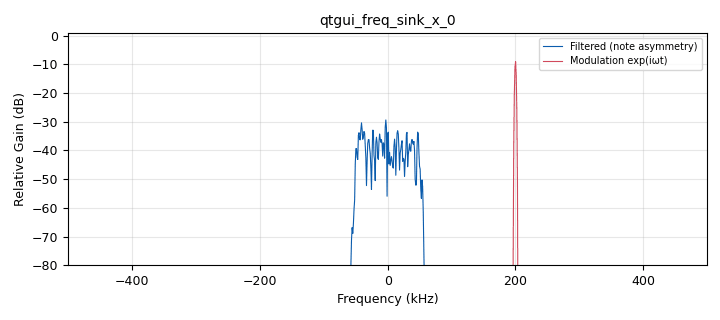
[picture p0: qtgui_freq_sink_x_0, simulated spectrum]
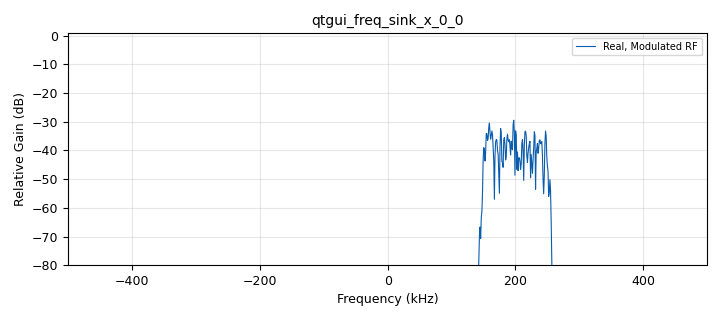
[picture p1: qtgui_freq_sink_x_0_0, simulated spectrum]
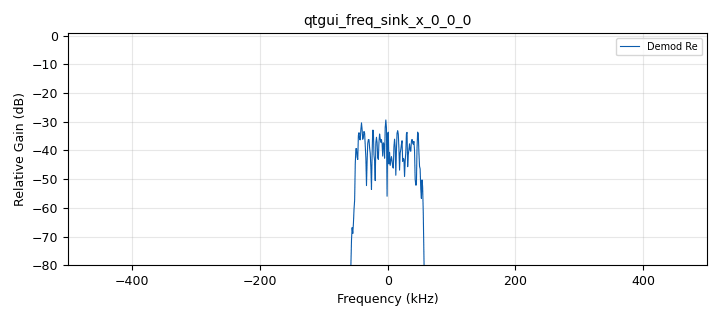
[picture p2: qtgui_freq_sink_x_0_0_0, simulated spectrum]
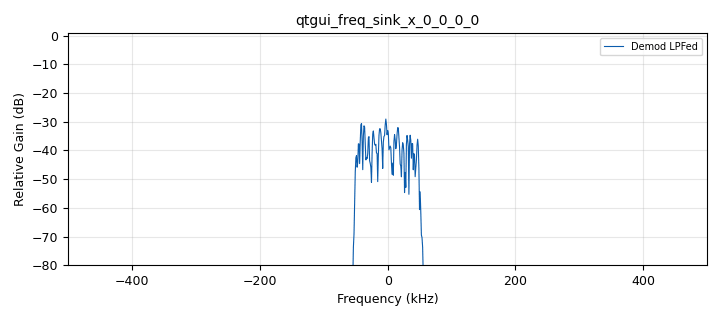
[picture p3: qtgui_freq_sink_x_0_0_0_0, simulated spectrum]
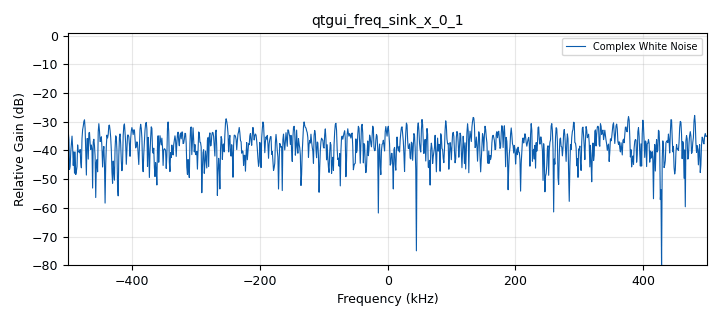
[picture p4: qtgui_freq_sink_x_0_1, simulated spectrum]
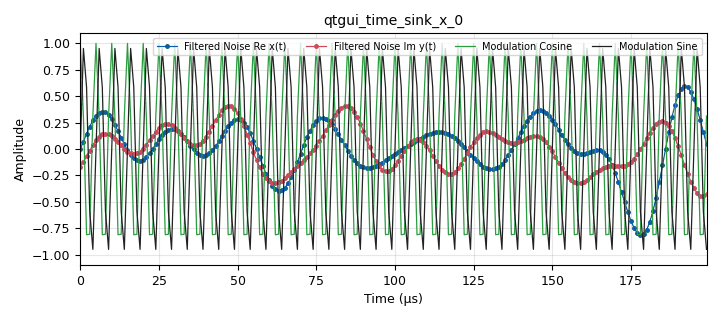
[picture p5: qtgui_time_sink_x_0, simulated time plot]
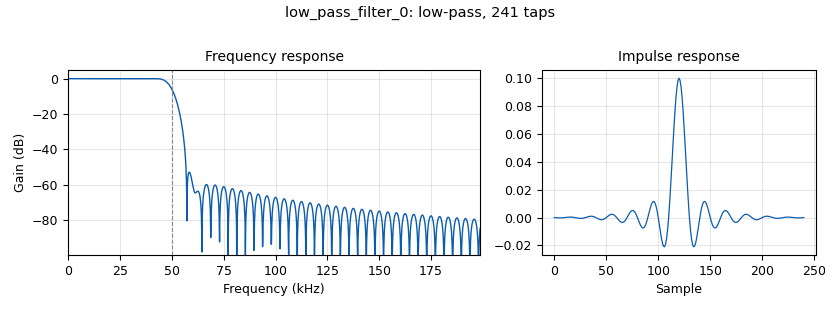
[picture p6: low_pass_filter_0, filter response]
options:
  parameters:
    author: jason
    generate_options: qt_gui
    id: basicSDR
    output_language: python
    title: Complex Modulation
  states: {}

blocks:
- name: cutoff_freq_kHz
  id: variable_qtgui_range
  parameters:
    gui_hint: 0,0,1,2
    label: LPF Cutoff Frequency (kHz)
    orient: Qt.Horizontal
    start: '0'
    step: '1'
    stop: '500'
    value: '50'
  states: {}
- name: delay
  id: variable_qtgui_range
  parameters:
    gui_hint: 20,0,1,2
    label: Delay (samples)
    orient: Qt.Horizontal
    rangeType: int
    start: '0'
    step: '1'
    stop: '1000'
    value: '120'
  states: {}
- name: demodulation_freq_kHz
  id: variable_qtgui_range
  parameters:
    gui_hint: 18,0,1,2
    label: Deodulation Frequency (kHz)
    orient: Qt.Horizontal
    start: '-500'
    step: '1'
    stop: '500'
    value: '-200'
  states: {state: disabled}
- name: modulation_freq_kHz
  id: variable_qtgui_range
  parameters:
    gui_hint: 2,0,1,2
    label: Modulation Frequency (kHz)
    orient: Qt.Horizontal
    start: '-500'
    step: '1'
    stop: '500'
    value: '200'
  states: {}
- name: phase
  id: variable_qtgui_range
  parameters:
    gui_hint: 19,0,1,2
    label: Phase Shift (samples)
    orient: Qt.Horizontal
    rangeType: int
    start: '0'
    step: '1'
    stop: '20'
    value: '0'
  states: {}
- name: samp_rate
  id: variable
  parameters:
    value: 1e6
  states: {}
- name: transition_width_kHz
  id: variable_qtgui_range
  parameters:
    gui_hint: 1,0,1,2
    label: LPF Transition Width (kHz)
    orient: Qt.Horizontal
    start: '0'
    step: '1'
    stop: '500'
    value: '10'
  states: {}
- name: analog_noise_source_x_0
  id: analog_noise_source_x
  parameters:
    amp: '1'
    comment: white Gaussian noise
    noise_type: analog.GR_GAUSSIAN
    seed: '0'
    type: complex
  states: {}
- name: analog_sig_source_x_0_0
  id: analog_sig_source_x
  parameters:
    amp: '1'
    comment: e^(iωt)
    freq: modulation_freq_kHz*1000
    offset: '0'
    phase: '0'
    samp_rate: samp_rate
    type: complex
    waveform: analog.GR_COS_WAVE
  states: {}
- name: analog_sig_source_x_0_0_0
  id: analog_sig_source_x
  parameters:
    amp: '2'
    comment: e^(-iωt)
    freq: demodulation_freq_kHz*1000
    offset: '0'
    phase: '0'
    samp_rate: samp_rate
    type: complex
    waveform: analog.GR_COS_WAVE
  states: {state: disabled}
- name: blocks_conjugate_cc_0
  id: blocks_conjugate_cc
  parameters:
    comment: e^(-iωt)
  states: {}
- name: blocks_delay_0
  id: blocks_delay
  parameters:
    delay: delay
    type: complex
  states: {}
- name: blocks_delay_1
  id: blocks_delay
  parameters:
    comment: |-
      simulate a phase shift 
      on the receiver
      try 50kHz modulation 
      with a narrower LPF cutoff
    delay: phase
    type: complex
  states: {}
- name: blocks_multiply_xx_0_2
  id: blocks_multiply_xx
  parameters:
    comment: |-
      z(t) * e^(iωt)  * e^(-iωt)
       = z(t)
    type: complex
  states: {}
- name: blocks_multiply_xx_0_2_0
  id: blocks_multiply_xx
  parameters:
    comment: z(t) * e^(iωt)
    type: complex
  states: {}
- name: blocks_throttle_0
  id: blocks_throttle
  parameters:
    samples_per_second: samp_rate
    type: complex
  states: {}
- name: import_0
  id: import
  parameters:
    imports: import math
  states: {}
- name: low_pass_filter_0
  id: low_pass_filter
  parameters:
    comment: |-
      band-limited
      noise input
      z(t) = x(t) + i y(t)
    cutoff_freq: cutoff_freq_kHz*1000
    decim: '1'
    gain: '1'
    samp_rate: samp_rate
    type: fir_filter_ccf
    width: transition_width_kHz*1000
    win: firdes.WIN_HAMMING
  states: {}
- name: low_pass_filter_0_0_1
  id: low_pass_filter
  parameters:
    comment: z(t) = x(t) + i y(t)
    cutoff_freq: cutoff_freq_kHz*1000
    decim: '1'
    gain: '1'
    samp_rate: samp_rate
    type: fir_filter_ccf
    width: transition_width_kHz*1000
    win: firdes.WIN_HAMMING
  states: {}
- name: qtgui_freq_sink_x_0
  id: qtgui_freq_sink_x
  parameters:
    bw: samp_rate
    color2: '"green"'
    comment: |-
      input signal
      z(t) = x(t) + i y(t)
    fc: '0'
    fftsize: '1024'
    freqhalf: 'False'
    gui_hint: 6,1,3,1
    label1: Filtered (note asymmetry)
    label2: Modulation exp(iωt)
    name: ''
    nconnections: '2'
    type: complex
    wintype: firdes.WIN_BLACKMAN_hARRIS
    ymax: '1'
    ymin: '-80'
  states: {}
- name: qtgui_freq_sink_x_0_0
  id: qtgui_freq_sink_x
  parameters:
    bw: samp_rate
    comment: |-
      modulated signal
      z(t) * e^(iωt)
    fc: '0'
    fftsize: '1024'
    gui_hint: 9,1,3,1
    label1: Real, Modulated RF
    type: complex
    wintype: firdes.WIN_BLACKMAN_hARRIS
    ymax: '1'
    ymin: '-80'
  states: {}
- name: qtgui_freq_sink_x_0_0_0
  id: qtgui_freq_sink_x
  parameters:
    bw: samp_rate
    comment: |-
      demodulated signal
      before filtering
      z(t) * e^(iωt)  * e^(-iωt)
       = z(t)
    fc: '0'
    fftsize: '1024'
    gui_hint: 12,1,3,1
    label1: Demod Re
    type: complex
    wintype: firdes.WIN_BLACKMAN_hARRIS
    ymax: '1'
    ymin: '-80'
  states: {}
- name: qtgui_freq_sink_x_0_0_0_0
  id: qtgui_freq_sink_x
  parameters:
    bw: samp_rate
    color1: '"green"'
    comment: |-
      demodulated signal
      after filtering (not needed here)
      z(t) = x(t) + i y(t)  again
    fc: '0'
    fftsize: '1024'
    freqhalf: 'False'
    gui_hint: 15,1,3,1
    label1: Demod LPFed
    type: complex
    wintype: firdes.WIN_BLACKMAN_hARRIS
    ymax: '1'
    ymin: '-80'
  states: {}
- name: qtgui_freq_sink_x_0_1
  id: qtgui_freq_sink_x
  parameters:
    bw: samp_rate
    fc: '0'
    fftsize: '1024'
    freqhalf: 'False'
    gui_hint: 3,1,3,1
    label1: Complex White Noise
    name: ''
    type: complex
    wintype: firdes.WIN_BLACKMAN_hARRIS
    ymax: '1'
    ymin: '-80'
  states: {}
- name: qtgui_time_sink_x_0
  id: qtgui_time_sink_x
  parameters:
    entags: 'False'
    gui_hint: 6,0,3,1
    label1: Filtered Noise Re x(t)
    label2: Filtered Noise Im y(t)
    label3: Modulation Cosine
    label4: Modulation Sine
    marker1: '0'
    marker2: '0'
    name: ''
    nconnections: '2'
    size: '200'
    srate: samp_rate
    tr_mode: qtgui.TRIG_MODE_AUTO
    type: complex
    ymax: '1.1'
    ymin: '-1.1'
  states: {}
- name: qtgui_time_sink_x_0_0
  id: qtgui_time_sink_x
  parameters:
    gui_hint: 9,0,3,1
    label1: Real, Modulated RF
    label2: ' Multiply (Modulated) Im'
    size: '200'
    srate: samp_rate
    tr_mode: qtgui.TRIG_MODE_AUTO
    type: complex
    ymax: '1.1'
    ymin: '-1.1'
  states: {}
- name: qtgui_time_sink_x_0_0_0
  id: qtgui_time_sink_x
  parameters:
    gui_hint: 12,0,3,1
    label1: Demod Re
    label2: Demod Im
    size: '200'
    srate: samp_rate
    tr_mode: qtgui.TRIG_MODE_AUTO
    type: complex
    ymax: '1.1'
    ymin: '-1.1'
  states: {}
- name: qtgui_time_sink_x_0_0_0_0
  id: qtgui_time_sink_x
  parameters:
    gui_hint: 15,0,3,1
    label1: Input Re
    label2: Input Im
    label3: ' Demod LPFed Re'
    label4: ' Demod LPFed Im'
    nconnections: '2'
    size: '200'
    srate: samp_rate
    tr_mode: qtgui.TRIG_MODE_AUTO
    type: complex
    ymax: '1.1'
    ymin: '-1.1'
  states: {}
- name: qtgui_time_sink_x_0_1
  id: qtgui_time_sink_x
  parameters:
    entags: 'False'
    gui_hint: 3,0,3,1
    label1: White Noise Re
    label2: White Noise Im
    name: ''
    size: '200'
    srate: samp_rate
    tr_mode: qtgui.TRIG_MODE_AUTO
    type: complex
    ymax: '2.5'
    ymin: '-2.5'
  states: {}

connections:
- [analog_noise_source_x_0, '0', blocks_throttle_0, '0']
- [analog_sig_source_x_0_0, '0', blocks_conjugate_cc_0, '0']
- [analog_sig_source_x_0_0, '0', blocks_multiply_xx_0_2_0, '1']
- [analog_sig_source_x_0_0, '0', qtgui_freq_sink_x_0, '1']
- [analog_sig_source_x_0_0, '0', qtgui_time_sink_x_0, '1']
- [analog_sig_source_x_0_0_0, '0', blocks_multiply_xx_0_2, '1']
- [blocks_conjugate_cc_0, '0', blocks_delay_1, '0']
- [blocks_delay_0, '0', qtgui_time_sink_x_0_0_0_0, '0']
- [blocks_delay_1, '0', blocks_multiply_xx_0_2, '1']
- [blocks_multiply_xx_0_2, '0', low_pass_filter_0_0_1, '0']
- [blocks_multiply_xx_0_2, '0', qtgui_freq_sink_x_0_0_0, '0']
- [blocks_multiply_xx_0_2, '0', qtgui_time_sink_x_0_0_0, '0']
- [blocks_multiply_xx_0_2_0, '0', blocks_multiply_xx_0_2, '0']
- [blocks_multiply_xx_0_2_0, '0', qtgui_freq_sink_x_0_0, '0']
- [blocks_multiply_xx_0_2_0, '0', qtgui_time_sink_x_0_0, '0']
- [blocks_throttle_0, '0', low_pass_filter_0, '0']
- [blocks_throttle_0, '0', qtgui_freq_sink_x_0_1, '0']
- [blocks_throttle_0, '0', qtgui_time_sink_x_0_1, '0']
- [low_pass_filter_0, '0', blocks_delay_0, '0']
- [low_pass_filter_0, '0', blocks_multiply_xx_0_2_0, '0']
- [low_pass_filter_0, '0', qtgui_freq_sink_x_0, '0']
- [low_pass_filter_0, '0', qtgui_time_sink_x_0, '0']
- [low_pass_filter_0_0_1, '0', qtgui_freq_sink_x_0_0_0_0, '0']
- [low_pass_filter_0_0_1, '0', qtgui_time_sink_x_0_0_0_0, '1']

metadata:
  file_format: 1
